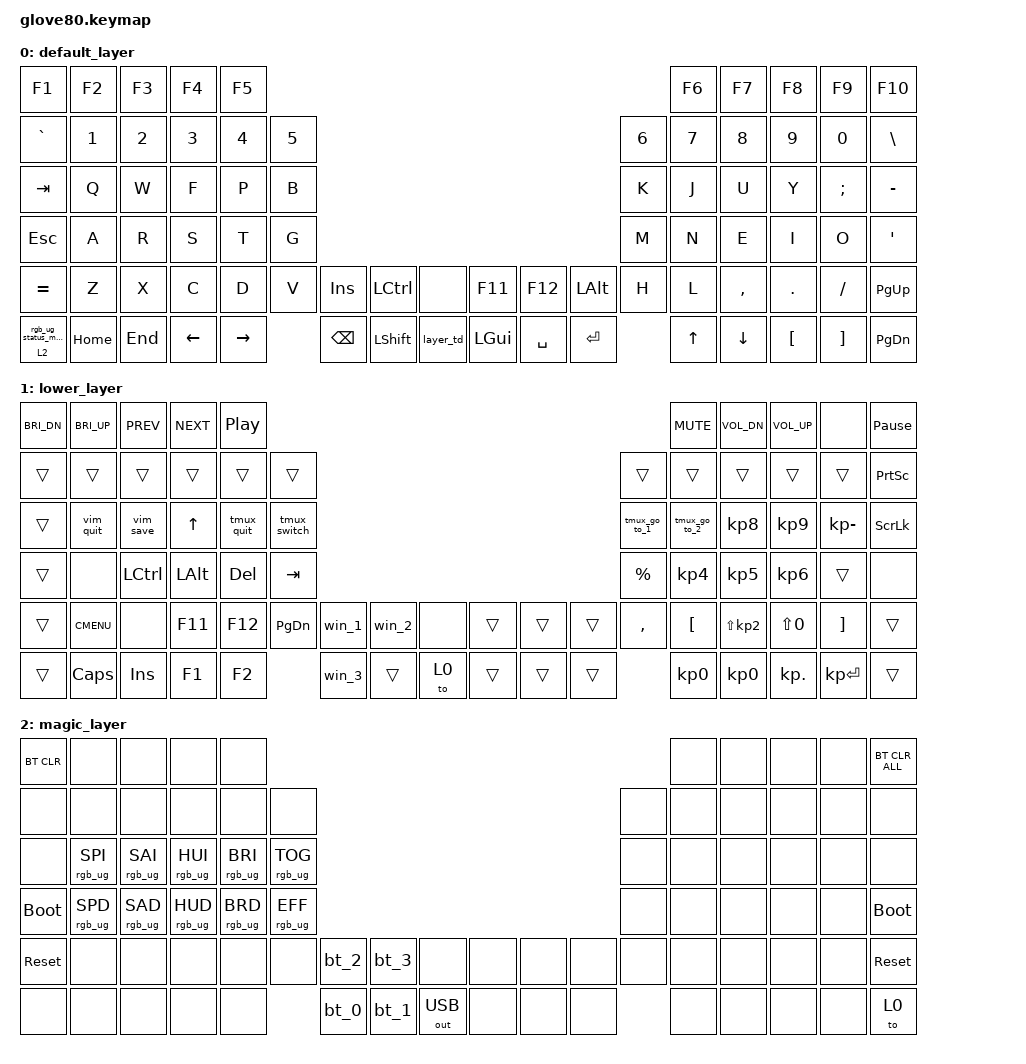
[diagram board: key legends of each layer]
/*
 * Copyright (c) 2020 The ZMK Contributors
 *
 * SPDX-License-Identifier: MIT
 */

#include <behaviors.dtsi>
#include <dt-bindings/zmk/bt.h>
#include <dt-bindings/zmk/keys.h>
#include <dt-bindings/zmk/outputs.h>
#include <dt-bindings/zmk/rgb.h>

#define HYPER LC(LS(LG(LALT)))

// layers

#define DEFAULT 0
#define LOWER 1
#define MAGIC 2
#define FACTORY_TEST 3

/ {
    behaviors {
        // For the "layer" key, it'd nice to be able to use it as either a shift or a toggle.
        // Configure it as a tap dance, so the first tap (or hold) is a &mo and the second tap is a &to

        layer_td: tap_dance_0 {
            compatible = "zmk,behavior-tap-dance";
            label = "LAYER_TAP_DANCE";
            #binding-cells = <0>;
            tapping-term-ms = <200>;
            bindings = <&mo 1>, <&to 1>;
        };

        magic: magic_hold_tap {
            compatible = "zmk,behavior-hold-tap";
            label = "MAGIC_HOLD_TAP";
            #binding-cells = <2>;
            flavor = "tap-preferred";
            tapping-term-ms = <200>;
            bindings = <&mo>, <&rgb_ug_status_macro>;
        };

        hml: homewrow_mods_left {
            compatible = "zmk,behavior-hold-tap";
            label = "HOMEROW_MODS_LEFT_HAND";
            bindings = <&kp>, <&kp>;

            #binding-cells = <2>;
            tapping-term-ms = <200>;
            hold-trigger-key-positions = <55 56 57 72 73 74 75 76 77 78 79 63 32 44 62 32 33 40 41 42 43 44 45 60 5 6 7 8 9 16 17 18 19 20 21 28 29 30 31 32 33 40 41 42 43 44 45 58 59 60 61 62 63 69 70 71 52 53 54>;
            flavor = "balanced";
            hold-trigger-on-release;
        };

        hmr: homewrow_mods_right {
            compatible = "zmk,behavior-hold-tap";
            label = "HOMEROW_MODS_RIGHT_HAND";
            bindings = <&kp>, <&kp>;

            #binding-cells = <2>;
            tapping-term-ms = <200>;
            hold-trigger-key-positions = <0 1 2 3 4 10 11 12 13 14 15 22 23 24 25 26 27 34 35 36 37 38 39 46 47 48 49 50 51 52 53 54 64 65 66 67 68 69 70 71 55 56 57 72 73 74>;
            flavor = "balanced";
            hold-trigger-on-release;
        };
    };

    macros {
        rgb_ug_status_macro: rgb_ug_status_macro_0 {
            label = "RGB_UG_STATUS";
            compatible = "zmk,behavior-macro";
            #binding-cells = <0>;
            bindings = <&rgb_ug RGB_STATUS>;
        };

        bt_0: bt_profile_macro_0 {
            label = "BT_0";
            compatible = "zmk,behavior-macro";
            #binding-cells = <0>;
            bindings = <&out OUT_BLE &bt BT_SEL 0>;
        };

        bt_1: bt_profile_macro_1 {
            label = "BT_1";
            compatible = "zmk,behavior-macro";
            #binding-cells = <0>;
            bindings = <&out OUT_BLE &bt BT_SEL 1>;
        };

        bt_2: bt_profile_macro_2 {
            label = "BT_2";
            compatible = "zmk,behavior-macro";
            #binding-cells = <0>;
            bindings = <&out OUT_BLE &bt BT_SEL 2>;
        };

        bt_3: bt_profile_macro_3 {
            label = "BT_3";
            compatible = "zmk,behavior-macro";
            #binding-cells = <0>;
            bindings = <&out OUT_BLE &bt BT_SEL 3>;
        };

        tmux_go_to_1: tmux_go_to_1 {
            label = "&TMUX_GO_TO_1";
            compatible = "zmk,behavior-macro";
            #binding-cells = <0>;
            bindings = <&kp LC(B) &kp N1>;
        };

        tmux_go_to_2: tmux_go_to_2 {
            label = "&TMUX_GO_TO_2";
            compatible = "zmk,behavior-macro";
            #binding-cells = <0>;
            bindings = <&kp LC(B) &kp N2>;
        };

        vim_save: vim_save {
            label = "&VIM_SAVE";
            compatible = "zmk,behavior-macro";
            #binding-cells = <0>;
            bindings = <&kp LS(SEMICOLON) &kp W &kp RET>;
        };

        vim_quit: vim_quit {
            label = "&VIM_QUIT";
            compatible = "zmk,behavior-macro";
            #binding-cells = <0>;
            bindings = <&kp LS(SEMICOLON) &kp Q &kp RET>;
        };

        tmux_quit: tmux_quit {
            label = "&TMUX_QUIT";
            compatible = "zmk,behavior-macro";
            #binding-cells = <0>;
            bindings = <&kp LC(B) &kp D>;
        };

        tmux_switch: tmux_switch {
            label = "&TMUX_SWITCH";
            compatible = "zmk,behavior-macro";
            #binding-cells = <0>;
            bindings = <&kp LC(B) &kp S>;
        };

        alt_shift: alt_shift {
            compatible = "zmk,behavior-macro";
            #binding-cells = <0>;
            bindings = <&kp LA(LEFT_SHIFT)>;
            label = "ALT_SHIFT";
        };

        win_1: win_1 {
            compatible = "zmk,behavior-macro";
            #binding-cells = <0>;
            bindings = <&kp LG(NUMBER_1)>;
            label = "WIN_1";
        };

        win_2: win_2 {
            compatible = "zmk,behavior-macro";
            #binding-cells = <0>;
            bindings = <&kp LG(NUMBER_2)>;
            label = "WIN_2";
        };

        win_3: win_3 {
            compatible = "zmk,behavior-macro";
            #binding-cells = <0>;
            bindings = <&kp LG(NUMBER_3)>;
            label = "WIN_3";
        };
    };

    keymap {
        compatible = "zmk,keymap";

        default_layer {
            // ---------------------------------------------------------------------------------------------------------------------------------
            // |  F1   |  F2 |  F3 |  F4  |  F5  |                                                               |  F6   |  F7   |  F8  |   F9  |  F10 |
            // |  =    |  1  |  2  |  3   |  4   |  5   |                                                 |  6   |   7   |   8   |  9   |   0   |   -  |
            // |  TAB  |  Q  |  W  |  E   |  R   |  T   |                                                 |  Y   |   U   |   I   |  O   |   P   |   \  |
            // |  ESC  |  A  |  S  |  D   |  F   |  G   |                                                 |  H   |   J   |   K   |  L   |   ;   |   '  |
            // |   `   |  Z  |  X  |  C   |  V   |  B   | LSHFT | LCTRL | LOWER | | LGUI  | RCTRL | RSHFT |  N   |   M   |   ,   |  .   |   /   | PGUP |
            // | MAGIC | HOME| END | LEFT | RIGHT|      | BSPC  | DEL   | LALT  | | RALT  | RET   | SPACE |      |  UP   | DOWN  |  [   |   ]   | PGDN |

            bindings = <
&kp F1      &kp F2    &kp F3   &kp F4    &kp F5                                                                                                   &kp F6  &kp F7     &kp F8    &kp F9         &kp F10
&kp GRAVE   &kp N1    &kp N2   &kp N3    &kp N4     &kp N5                                                                                &kp N6  &kp N7  &kp N8     &kp N9    &kp N0         &kp BACKSLASH
&kp TAB     &kp Q     &kp W    &kp F     &kp P      &kp B                                                                                 &kp K   &kp J   &kp U      &kp Y     &kp SEMICOLON  &kp MINUS
&kp ESC     &kp A     &kp R    &kp S     &kp T      &kp G                                                                                 &kp M   &kp N   &kp E      &kp I     &kp O          &kp SQT
&kp EQUAL   &kp Z     &kp X    &kp C     &kp D      &kp V   &kp INSERT  &kp LCTRL       &none      &kp F11       &kp F12    &kp LEFT_ALT  &kp H   &kp L   &kp COMMA  &kp DOT   &kp FSLH       &kp PG_UP
&magic 2 0  &kp HOME  &kp END  &kp LEFT  &kp RIGHT          &kp BSPC    &kp LEFT_SHIFT  &layer_td  &kp LEFT_GUI  &kp SPACE  &kp ENTER             &kp UP  &kp DOWN   &kp LBKT  &kp RBKT       &kp PG_DN
            >;
        };

        lower_layer {
            bindings = <
&kp C_BRI_DN  &kp C_BRI_UP  &kp C_PREV  &kp C_NEXT    &kp C_PP                                                                                &kp C_MUTE        &kp C_VOL_DN   &kp C_VOL_UP  &none              &kp PAUSE_BREAK
&trans        &trans        &trans      &trans        &trans      &trans                                                       &trans         &trans            &trans         &trans        &trans             &kp PSCRN
&trans        &vim_quit     &vim_save   &kp UP        &tmux_quit  &tmux_switch                                                 &tmux_go_to_1  &tmux_go_to_2     &kp KP_N8      &kp KP_N9     &kp KP_MINUS       &kp SLCK
&trans        &none         &kp LCTRL   &kp LEFT_ALT  &kp DELETE  &kp TAB                                                      &kp PRCNT      &kp KP_N4         &kp KP_N5      &kp KP_N6     &trans             &none
&trans        &kp K_CMENU   &none       &kp F11       &kp F12     &kp PG_DN     &win_1  &win_2  &none  &trans  &trans  &trans  &kp COMMA      &kp LEFT_BRACKET  &kp LS(KP_N2)  &kp LS(N0)    &kp RIGHT_BRACKET  &trans
&trans        &kp CAPS      &kp INS     &kp F1        &kp F2                    &win_3  &trans  &to 0  &trans  &trans  &trans                 &kp KP_N0         &kp KP_N0      &kp KP_DOT    &kp KP_ENTER       &trans
            >;
        };

        magic_layer {
            bindings = <
&bt BT_CLR   &none            &none            &none            &none                                                                                     &none  &none  &none  &none  &bt BT_CLR_ALL
&none        &none            &none            &none            &none            &none                                                             &none  &none  &none  &none  &none  &none
&none        &rgb_ug RGB_SPI  &rgb_ug RGB_SAI  &rgb_ug RGB_HUI  &rgb_ug RGB_BRI  &rgb_ug RGB_TOG                                                   &none  &none  &none  &none  &none  &none
&bootloader  &rgb_ug RGB_SPD  &rgb_ug RGB_SAD  &rgb_ug RGB_HUD  &rgb_ug RGB_BRD  &rgb_ug RGB_EFF                                                   &none  &none  &none  &none  &none  &bootloader
&sys_reset   &none            &none            &none            &none            &none            &bt_2  &bt_3  &none         &none  &none  &none  &none  &none  &none  &none  &none  &sys_reset
&none        &none            &none            &none            &none                             &bt_0  &bt_1  &out OUT_USB  &none  &none  &none         &none  &none  &none  &none  &to 0
            >;
        };
    };
};
